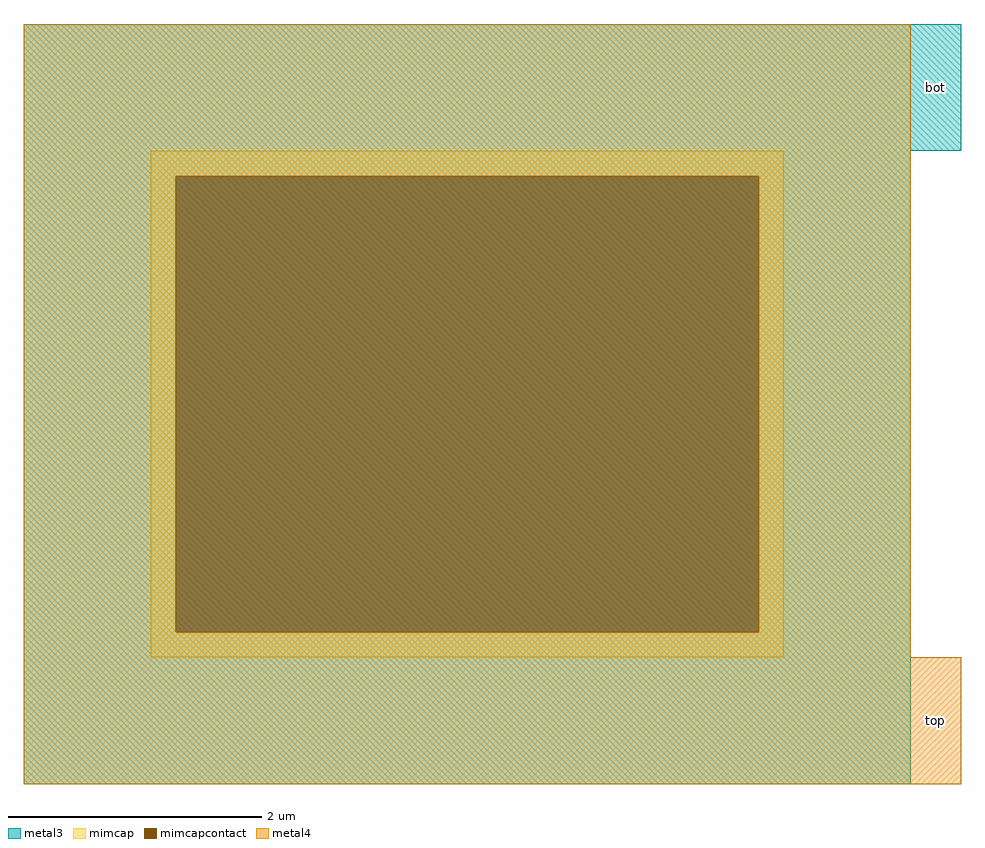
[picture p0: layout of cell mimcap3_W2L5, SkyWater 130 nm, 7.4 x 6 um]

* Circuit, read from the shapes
.subckt mimcap3_W2L5 bot top
XC1 top bot sky130_fd_pr__cap_mim_m3_1 w=5 l=4
.ends

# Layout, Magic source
magic
tech sky130B
<< metal3 >>
rect -200 300 540 400
rect -200 -200 500 300
<< mimcap >>
rect -100 280 400 300
rect -100 -80 -80 280
rect 380 -80 400 280
rect -100 -100 400 -80
<< mimcapcontact >>
rect -80 -80 380 280
<< metal4 >>
rect -200 280 500 400
rect -200 -80 -80 280
rect 380 -80 500 280
rect -200 -100 500 -80
rect -200 -200 540 -100
<< labels >>
rlabel metal4 500 -200 540 -100 1 top
rlabel metal3 500 300 540 400 1 bot
<< end >>
